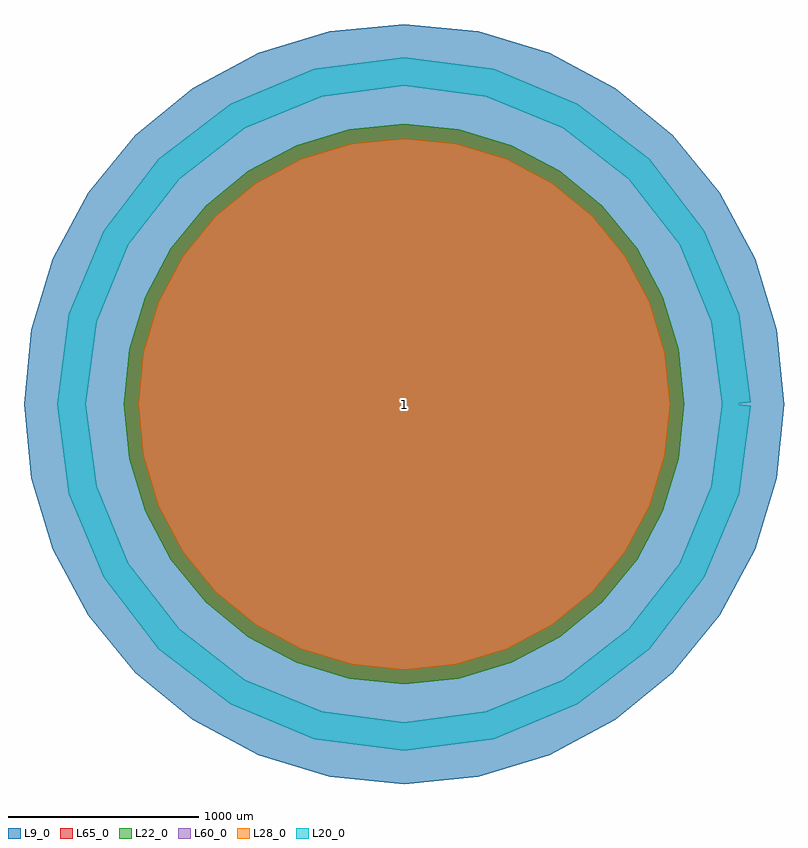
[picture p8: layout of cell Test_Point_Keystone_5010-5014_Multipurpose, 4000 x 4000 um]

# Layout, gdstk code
import gdstk
lib = gdstk.Library(unit=1e-6, precision=1e-09)
def P(c, l, *ps):  # polygons
    for p in ps: c.add(gdstk.Polygon(p, *l))
L9_0 = (9, 0)
L20_0 = (20, 0)
L22_0 = (22, 0)
L28_0 = (28, 0)
L60_0 = (60, 0)
L65_0 = (65, 0)

test_point_keystone_5010 = lib.new_cell('Test_Point_Keystone_5010-5014_Multipurpose')
P(test_point_keystone_5010, L9_0, [(1600,0),(1569.256,312.145),(1478.207,612.293),(1330.351,888.912),(1131.371,1131.371),(888.912,1330.351),(612.293,1478.207),(312.145,1569.256),(0,1600),(-312.145,1569.256),(-612.293,1478.207),(-888.912,1330.351),(-1131.371,1131.371),(-1330.351,888.912),(-1478.207,612.293),(-1569.256,312.145),(-1600,0),(-1569.256,-312.145),(-1478.207,-612.293),(-1330.351,-888.912),(-1131.371,-1131.371),(-888.912,-1330.351),(-612.293,-1478.207),(-312.145,-1569.256),(0,-1600),(312.145,-1569.256),(612.293,-1478.207),(888.912,-1330.351),(1131.371,-1131.371),(1330.351,-888.912),(1478.207,-612.293),(1569.256,-312.145)],
  [(2000,0),(1961.571,390.181),(1847.759,765.367),(1662.939,1111.14),(1414.214,1414.214),(1111.14,1662.939),(765.367,1847.759),(390.181,1961.571),(0,2000),(-390.181,1961.571),(-765.367,1847.759),(-1111.14,1662.939),(-1414.214,1414.214),(-1662.939,1111.14),(-1847.759,765.367),(-1961.571,390.181),(-2000,0),(-1961.571,-390.181),(-1847.759,-765.367),(-1662.939,-1111.14),(-1414.214,-1414.214),(-1111.14,-1662.939),(-765.367,-1847.759),(-390.181,-1961.571),(0,-2000),(390.181,-1961.571),(765.367,-1847.759),(1111.14,-1662.939),(1414.214,-1414.214),(1662.939,-1111.14),(1847.759,-765.367),(1961.571,-390.181)])
P(test_point_keystone_5010, L22_0, [(1475,0),(1446.658,287.758),(1362.722,564.458),(1226.418,819.466),(1042.983,1042.983),(819.466,1226.418),(564.458,1362.722),(287.758,1446.658),(0,1475),(-287.758,1446.658),(-564.458,1362.722),(-819.466,1226.418),(-1042.983,1042.983),(-1226.418,819.466),(-1362.722,564.458),(-1446.658,287.758),(-1475,0),(-1446.658,-287.758),(-1362.722,-564.458),(-1226.418,-819.466),(-1042.983,-1042.983),(-819.466,-1226.418),(-564.458,-1362.722),(-287.758,-1446.658),(0,-1475),(287.758,-1446.658),(564.458,-1362.722),(819.466,-1226.418),(1042.983,-1042.983),(1226.418,-819.466),(1362.722,-564.458),(1446.658,-287.758)])
P(test_point_keystone_5010, L28_0, [(1400,0),(1373.099,273.126),(1293.431,535.757),(1164.057,777.798),(989.949,989.949),(777.798,1164.057),(535.757,1293.431),(273.126,1373.099),(0,1400),(-273.126,1373.099),(-535.757,1293.431),(-777.798,1164.057),(-989.949,989.949),(-1164.057,777.798),(-1293.431,535.757),(-1373.099,273.126),(-1400,0),(-1373.099,-273.126),(-1293.431,-535.757),(-1164.057,-777.798),(-989.949,-989.949),(-777.798,-1164.057),(-535.757,-1293.431),(-273.126,-1373.099),(0,-1400),(273.126,-1373.099),(535.757,-1293.431),(777.798,-1164.057),(989.949,-989.949),(1164.057,-777.798),(1293.431,-535.757),(1373.099,-273.126)])
P(test_point_keystone_5010, L60_0, [(1400,0),(1373.099,273.126),(1293.431,535.757),(1164.057,777.798),(989.949,989.949),(777.798,1164.057),(535.757,1293.431),(273.126,1373.099),(0,1400),(-273.126,1373.099),(-535.757,1293.431),(-777.798,1164.057),(-989.949,989.949),(-1164.057,777.798),(-1293.431,535.757),(-1373.099,273.126),(-1400,0),(-1373.099,-273.126),(-1293.431,-535.757),(-1164.057,-777.798),(-989.949,-989.949),(-777.798,-1164.057),(-535.757,-1293.431),(-273.126,-1373.099),(0,-1400),(273.126,-1373.099),(535.757,-1293.431),(777.798,-1164.057),(989.949,-989.949),(1164.057,-777.798),(1293.431,-535.757),(1373.099,-273.126)])
P(test_point_keystone_5010, L65_0, [(1475,0),(1446.658,287.758),(1362.722,564.458),(1226.418,819.466),(1042.983,1042.983),(819.466,1226.418),(564.458,1362.722),(287.758,1446.658),(0,1475),(-287.758,1446.658),(-564.458,1362.722),(-819.466,1226.418),(-1042.983,1042.983),(-1226.418,819.466),(-1362.722,564.458),(-1446.658,287.758),(-1475,0),(-1446.658,-287.758),(-1362.722,-564.458),(-1226.418,-819.466),(-1042.983,-1042.983),(-819.466,-1226.418),(-564.458,-1362.722),(-287.758,-1446.658),(0,-1475),(287.758,-1446.658),(564.458,-1362.722),(819.466,-1226.418),(1042.983,-1042.983),(1226.418,-819.466),(1362.722,-564.458),(1446.658,-287.758)])
test_point_keystone_5010.add(gdstk.FlexPath([(1750,0),(1690.37,452.933),(1515.544,875),(1237.437,1237.437),(875,1515.544),(452.933,1690.37),(0,1750),(-452.933,1690.37),(-875,1515.544),(-1237.437,1237.437),(-1515.544,875),(-1690.37,452.933),(-1750,0),(-1690.37,-452.933),(-1515.544,-875),(-1237.437,-1237.437),(-875,-1515.544),(-452.933,-1690.37),(0,-1750),(452.933,-1690.37),(875,-1515.544),(1237.437,-1237.437),(1515.544,-875),(1690.37,-452.933),(1750,0)], 149.998, ends="flush", simple_path=True, layer=20, datatype=0))  # L20_0
test_point_keystone_5010.add(gdstk.FlexPath([(-1250,-400),(-1250,400)], 149.998, ends="flush", simple_path=True, layer=9, datatype=0))  # L9_0
test_point_keystone_5010.add(gdstk.FlexPath([(1250,-400),(-1250,-400)], 149.998, ends="flush", simple_path=True, layer=9, datatype=0))  # L9_0
test_point_keystone_5010.add(gdstk.FlexPath([(1250,400),(1250,-400)], 149.998, ends="flush", simple_path=True, layer=9, datatype=0))  # L9_0
test_point_keystone_5010.add(gdstk.FlexPath([(-1250,400),(1250,400)], 149.998, ends="flush", simple_path=True, layer=9, datatype=0))  # L9_0
test_point_keystone_5010.add(gdstk.Label('1', (0,0), layer=28, texttype=0))
test_point_keystone_5010.add(gdstk.Label('type', (0,-2750), layer=9, texttype=0))
test_point_keystone_5010.add(gdstk.Label('devicename', (0,2750), layer=9, texttype=0))

lib.write_gds('Test_Point_Keystone_5010-5014_Multipurpose.gds')
